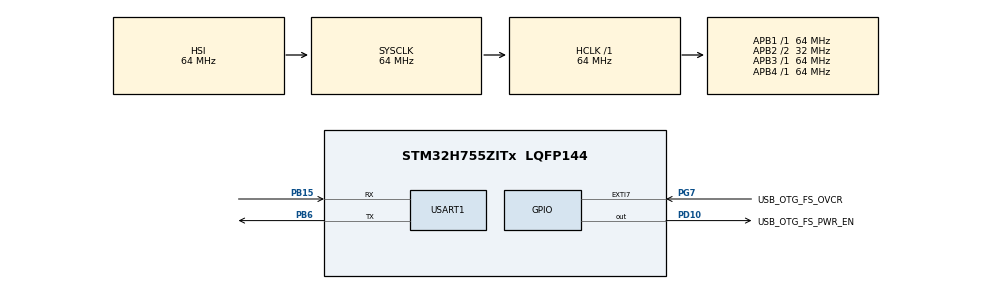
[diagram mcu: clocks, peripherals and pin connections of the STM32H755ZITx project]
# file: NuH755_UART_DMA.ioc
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CortexM4.IPs=FATFS_M4\:I,FREERTOS_M4\:I,IWDG2\:I,RCC,WWDG2\:I,DMA,BDMA,MDMA,NVIC2\:I,ETH,DEBUG,PDM2PCM_M4\:I,PWR,RESMGR_UTILITY,SYS_M4\:I,USB_DEVICE_M4\:I,USB_HOST_M4\:I,CORTEX_M4\:I,GPIO,OPENAMP_M4\:I,VREFBUF,NUCLEO-H755ZI-Q
CortexM7.IPs=FATFS_M7\:I,FREERTOS_M7\:I,IWDG1\:I,RCC\:I,WWDG1\:I,DMA\:I,BDMA\:I,MDMA\:I,NVIC1\:I,ETH\:I,USB_OTG_FS\:I,SYS\:I,CORTEX_M7\:I,DEBUG\:I,PDM2PCM_M7\:I,PWR\:I,RESMGR_UTILITY\:I,USB_DEVICE_M7\:I,USB_HOST_M7\:I,GPIO\:I,OPENAMP_M7\:I,VREFBUF\:I,NUCLEO-H755ZI-Q\:I,USART3\:I,USART1\:I
CortexM7.Pins=PD10,PG7
Dma.Request0=USART1_RX
Dma.Request1=USART1_TX
Dma.USART1_RX.0.Direction=DMA_PERIPH_TO_MEMORY
Dma.USART1_RX.0.EventEnable=DISABLE
Dma.USART1_RX.0.FIFOMode=DMA_FIFOMODE_DISABLE
Dma.USART1_RX.0.Instance=DMA1_Stream0
Dma.USART1_RX.0.MemDataAlignment=DMA_MDATAALIGN_BYTE
Dma.USART1_RX.0.MemInc=DMA_MINC_ENABLE
Dma.USART1_RX.0.Mode=DMA_CIRCULAR
Dma.USART1_RX.0.PeriphDataAlignment=DMA_PDATAALIGN_BYTE
Dma.USART1_RX.0.PeriphInc=DMA_PINC_DISABLE
Dma.USART1_RX.0.Polarity=HAL_DMAMUX_REQ_GEN_RISING
Dma.USART1_RX.0.Priority=DMA_PRIORITY_LOW
Dma.USART1_RX.0.RequestNumber=1
Dma.USART1_RX.0.SignalID=NONE
Dma.USART1_RX.0.SyncEnable=DISABLE
Dma.USART1_RX.0.SyncPolarity=HAL_DMAMUX_SYNC_NO_EVENT
Dma.USART1_RX.0.SyncRequestNumber=1
Dma.USART1_RX.0.SyncSignalID=NONE
Dma.USART1_TX.1.Direction=DMA_MEMORY_TO_PERIPH
Dma.USART1_TX.1.EventEnable=DISABLE
Dma.USART1_TX.1.FIFOMode=DMA_FIFOMODE_DISABLE
Dma.USART1_TX.1.Instance=DMA1_Stream1
Dma.USART1_TX.1.MemDataAlignment=DMA_MDATAALIGN_BYTE
Dma.USART1_TX.1.MemInc=DMA_MINC_ENABLE
Dma.USART1_TX.1.Mode=DMA_NORMAL
Dma.USART1_TX.1.PeriphDataAlignment=DMA_PDATAALIGN_BYTE
Dma.USART1_TX.1.PeriphInc=DMA_PINC_DISABLE
Dma.USART1_TX.1.Polarity=HAL_DMAMUX_REQ_GEN_RISING
Dma.USART1_TX.1.Priority=DMA_PRIORITY_LOW
Dma.USART1_TX.1.RequestNumber=1
Dma.USART1_TX.1.SignalID=NONE
Dma.USART1_TX.1.SyncEnable=DISABLE
Dma.USART1_TX.1.SyncPolarity=HAL_DMAMUX_SYNC_NO_EVENT
Dma.USART1_TX.1.SyncRequestNumber=1
Dma.USART1_TX.1.SyncSignalID=NONE
Mcu.Family=STM32H7
Mcu.Name=STM32H755ZITx
Mcu.Package=LQFP144
NUCLEO-H755ZI-Q.BUTTON=1
NUCLEO-H755ZI-Q.Bsp_Common_DEMO=true
NUCLEO-H755ZI-Q.LD1=true
NUCLEO-H755ZI-Q.LD2=true
NUCLEO-H755ZI-Q.LD3=true
NUCLEO-H755ZI-Q.VCP=true
NVIC1.DMA1_Stream0_IRQn=true\:0\:0\:false\:false\:true\:false\:true\:true
NVIC1.DMA1_Stream1_IRQn=true\:0\:0\:false\:false\:true\:false\:true\:true
NVIC1.EXTI15_10_IRQn=true\:0\:0\:false\:false\:true\:false\:true\:true
NVIC1.PriorityGroup=NVIC_PRIORITYGROUP_4
NVIC1.USART1_IRQn=true\:0\:0\:false\:false\:true\:true\:true\:true
NVIC2.PriorityGroup=NVIC_PRIORITYGROUP_4
PA1.PinAttribute=CortexM7
PA1.Signal=ETH_REF_CLK
PA11.PinAttribute=CortexM7
PA11.Signal=USB_OTG_FS_DM
PA12.PinAttribute=CortexM7
PA12.Signal=USB_OTG_FS_DP
PA2.PinAttribute=CortexM7
PA2.Signal=ETH_MDIO
PA7.PinAttribute=CortexM7
PA7.Signal=ETH_CRS_DV
PA8.PinAttribute=CortexM7
PA8.Signal=USB_OTG_FS_SOF
PA9.PinAttribute=CortexM7
PA9.Signal=USB_OTG_FS_VBUS
PB13.PinAttribute=CortexM7
PB13.Signal=ETH_TXD1
PB15.Mode=Asynchronous
PB15.PinAttribute=CortexM7
PB15.Signal=USART1_RX
PB6.Mode=Asynchronous
PB6.PinAttribute=CortexM7
PB6.Signal=USART1_TX
PC1.PinAttribute=CortexM7
PC1.Signal=ETH_MDC
PC14-OSC32_IN\ (OSC32_IN).PinAttribute=Free
PC14-OSC32_IN\ (OSC32_IN).Signal=RCC_OSC32_IN
PC15-OSC32_OUT\ (OSC32_OUT).PinAttribute=Free
PC15-OSC32_OUT\ (OSC32_OUT).Signal=RCC_OSC32_OUT
PC4.PinAttribute=CortexM7
PC4.Signal=ETH_RXD0
PC5.PinAttribute=CortexM7
PC5.Signal=ETH_RXD1
PD10.GPIO_Label=USB_OTG_FS_PWR_EN
PD10.PinAttribute=CortexM7
PD10.Signal=GPIO_Output
PD8.Signal=USART3_TX
PD9.Signal=USART3_RX
PG11.PinAttribute=CortexM7
PG11.Signal=ETH_TX_EN
PG13.PinAttribute=CortexM7
PG13.Signal=ETH_TXD0
PG7.GPIO_Label=USB_OTG_FS_OVCR
PG7.PinAttribute=CortexM7
PG7.Signal=GPXTI7
PH0-OSC_IN\ (PH0).PinAttribute=Free
PH0-OSC_IN\ (PH0).Signal=RCC_OSC_IN
PH1-OSC_OUT\ (PH1).PinAttribute=Free
PH1-OSC_OUT\ (PH1).Signal=RCC_OSC_OUT
ProjectManager.HeapSize=M4-0x200,M7-0x200
ProjectManager.StackSize=M4-0x400,M7-0x400
ProjectManager.TargetToolchain=STM32CubeIDE
RCC.ADCFreq_Value=129000000
RCC.APB1Freq_Value=64000000
RCC.APB2Freq_Value=32000000
RCC.APB3Freq_Value=64000000
RCC.APB4Freq_Value=64000000
RCC.CortexFreq_Value=64000000
RCC.D2PPRE2=RCC_APB2_DIV2
RCC.DIVM1=5
RCC.DIVN1=48
RCC.DIVQ1=5
RCC.HCLKFreq_Value=64000000
RCC.SYSCLKFreq_VALUE=64000000
RCC.SupplySource=PWR_DIRECT_SMPS_SUPPLY
RCC.USBFreq_Value=122880000
USART1.VirtualMode-Asynchronous=VM_ASYNC
VP_NUCLEO-H755ZI-Q_VS_BSP_COMMON.Mode=COMMON
VP_SYS_M4_VS_Systick.Mode=SysTick
board=NUCLEO-H755ZI-Q

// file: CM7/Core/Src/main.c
/* USER CODE BEGIN Header */
/**
  ******************************************************************************
  * @file           : main.c
  * @brief          : Main program body
  ******************************************************************************
  * @attention
  *
  * Copyright (c) 2025 STMicroelectronics.
  * All rights reserved.
  *
  * This software is licensed under terms that can be found in the LICENSE file
  * in the root directory of this software component.
  * If no LICENSE file comes with this software, it is provided AS-IS.
  *
  ******************************************************************************
  */
/* USER CODE END Header */
#include "main.h"

/* USER CODE BEGIN Includes */
#include <string.h>

/* USER CODE END Includes */

/* USER CODE BEGIN PD */

/* DUAL_CORE_BOOT_SYNC_SEQUENCE: Define for dual core boot synchronization    */
/*                             demonstration code based on hardware semaphore */
/* This define is present in both CM7/CM4 projects                            */
/* To comment when developping/debugging on a single core                     */
//#define DUAL_CORE_BOOT_SYNC_SEQUENCE

#if defined(DUAL_CORE_BOOT_SYNC_SEQUENCE)
#ifndef HSEM_ID_0
#define HSEM_ID_0 (0U) /* HW semaphore 0*/
#endif
#endif /* DUAL_CORE_BOOT_SYNC_SEQUENCE */

/* USER CODE END PD */

COM_InitTypeDef BspCOMInit;
__IO uint32_t BspButtonState = BUTTON_RELEASED;

UART_HandleTypeDef huart1;
DMA_HandleTypeDef hdma_usart1_rx;
DMA_HandleTypeDef hdma_usart1_tx;

/* USER CODE BEGIN PV */
#define RX_BUF_SIZE 256
static uint8_t rx_dma_buf[RX_BUF_SIZE];
static uint16_t rx_last_pos = 0;

#define RX_RINGBUF_SIZE 1024
static uint8_t rx_ring_buf[RX_RINGBUF_SIZE];
static uint16_t rx_rb_head = 0;
static uint16_t rx_rb_tail = 0;
static uint16_t next_head = 0;

#define RX_RINGBUF_CHUNK_SIZE 64
static uint8_t rx_ring_buf_chunk[RX_RINGBUF_CHUNK_SIZE];
static uint16_t available  = 0;
static uint16_t to_read  = 0;

/* USER CODE END PV */

void SystemClock_Config(void);
static void MX_GPIO_Init(void);
static void MX_DMA_Init(void);
static void MX_USART1_UART_Init(void);
/* USER CODE BEGIN PFP */
static void RingBuf_WR(uint8_t data);
static void RingBuf_RD(void);
/* USER CODE END PFP */

/* USER CODE BEGIN 0 */
static void uart1_tx_dma(const uint8_t *data, uint16_t len)
{
  /* Demo-grade: wait until previous TX DMA finished */
  while (huart1.gState != HAL_UART_STATE_READY) { }
  HAL_UART_Transmit_DMA(&huart1, (uint8_t*)data, len);
}

static void uart1_tx_str(const char *s)
{
  uart1_tx_dma((const uint8_t*)s, (uint16_t)strlen(s));
}

static void RingBuf_WR(uint8_t data)
{
	static int of_cnt = 0;
	next_head = (rx_rb_head + 1) % RX_RINGBUF_SIZE;

	if (next_head == rx_rb_tail)
	{
		printf("%04d Ring Buffer Overflow!!!!!!!!!!!\r\n", of_cnt++);
		return;
	}

	rx_ring_buf[rx_rb_head] = data;
	rx_rb_head = next_head;
}

static void RingBuf_RD(void)
{
	available = (rx_rb_head >= rx_rb_tail) ? (rx_rb_head - rx_rb_tail) : (RX_RINGBUF_SIZE - rx_rb_tail + rx_rb_head);

	if (available == 0)
		return;

	to_read = (available >= RX_RINGBUF_CHUNK_SIZE) ? RX_RINGBUF_CHUNK_SIZE : available;

	for (uint16_t i = 0; i < to_read; i++)
	{
		rx_ring_buf_chunk[i] = rx_ring_buf[(rx_rb_tail + i) % RX_RINGBUF_SIZE];
	}

	rx_rb_tail = (rx_rb_tail + to_read) % RX_RINGBUF_SIZE;

	HAL_UART_Transmit(&hcom_uart[COM1], rx_ring_buf_chunk, to_read, 1000);  // timeout 1s

}

/* USER CODE END 0 */

int main(void)
{

/* USER CODE BEGIN Boot_Mode_Sequence_0 */
#if defined(DUAL_CORE_BOOT_SYNC_SEQUENCE)
  int32_t timeout;
#endif /* DUAL_CORE_BOOT_SYNC_SEQUENCE */
/* USER CODE END Boot_Mode_Sequence_0 */

/* USER CODE BEGIN Boot_Mode_Sequence_1 */
#if defined(DUAL_CORE_BOOT_SYNC_SEQUENCE)
  /* Wait until CPU2 boots and enters in stop mode or timeout*/
  timeout = 0xFFFF;
  while((__HAL_RCC_GET_FLAG(RCC_FLAG_D2CKRDY) != RESET) && (timeout-- > 0));
  if ( timeout < 0 )
  {
  Error_Handler();
  }
#endif /* DUAL_CORE_BOOT_SYNC_SEQUENCE */
/* USER CODE END Boot_Mode_Sequence_1 */
  /* MCU Configuration--------------------------------------------------------*/

  /* Reset of all peripherals, Initializes the Flash interface and the Systick. */
  HAL_Init();

  /* Configure the system clock */
  SystemClock_Config();
/* USER CODE BEGIN Boot_Mode_Sequence_2 */
#if defined(DUAL_CORE_BOOT_SYNC_SEQUENCE)
/* When system initialization is finished, Cortex-M7 will release Cortex-M4 by means of
HSEM notification */
/*HW semaphore Clock enable*/
__HAL_RCC_HSEM_CLK_ENABLE();
/*Take HSEM */
HAL_HSEM_FastTake(HSEM_ID_0);
/*Release HSEM in order to notify the CPU2(CM4)*/
HAL_HSEM_Release(HSEM_ID_0,0);
/* wait until CPU2 wakes up from stop mode */
timeout = 0xFFFF;
while((__HAL_RCC_GET_FLAG(RCC_FLAG_D2CKRDY) == RESET) && (timeout-- > 0));
if ( timeout < 0 )
{
Error_Handler();
}
#endif /* DUAL_CORE_BOOT_SYNC_SEQUENCE */
/* USER CODE END Boot_Mode_Sequence_2 */

  /* Initialize all configured peripherals */
  MX_GPIO_Init();
  MX_DMA_Init();
  MX_USART1_UART_Init();
  /* USER CODE BEGIN 2 */
  HAL_UART_Receive_DMA(&huart1, rx_dma_buf, RX_BUF_SIZE);
  uart1_tx_str("\r\nUART1 RX DMA (circular) ready. Type something...\r\n");

  /* USER CODE END 2 */

  /* Initialize leds */
  BSP_LED_Init(LED_GREEN);
  BSP_LED_Init(LED_YELLOW);
  BSP_LED_Init(LED_RED);

  /* Initialize USER push-button, will be used to trigger an interrupt each time it's pressed.*/
  BSP_PB_Init(BUTTON_USER, BUTTON_MODE_EXTI);

  /* Initialize COM1 port (115200, 8 bits (7-bit data + 1 stop bit), no parity */
  BspCOMInit.BaudRate   = 115200;
  BspCOMInit.WordLength = COM_WORDLENGTH_8B;
  BspCOMInit.StopBits   = COM_STOPBITS_1;
  BspCOMInit.Parity     = COM_PARITY_NONE;
  BspCOMInit.HwFlowCtl  = COM_HWCONTROL_NONE;
  if (BSP_COM_Init(COM1, &BspCOMInit) != BSP_ERROR_NONE)
  {
    Error_Handler();
  }

  /* USER CODE BEGIN BSP */
  /* -- Sample board code to send message over COM1 port ---- */
  printf("Welcome to STM32 world !\n\r");
  /* -- Sample board code to switch on leds ---- */
  BSP_LED_On(LED_GREEN);
  BSP_LED_On(LED_YELLOW);
  BSP_LED_On(LED_RED);
  /* USER CODE END BSP */

  /* Infinite loop */
  /* USER CODE BEGIN WHILE */
  while (1)
  {

    /* -- Sample board code for User push-button in interrupt mode ---- */
    if (BspButtonState == BUTTON_PRESSED)
    {
      /* Update button state */
      BspButtonState = BUTTON_RELEASED;
      /* -- Sample board code to toggle leds ---- */
      BSP_LED_Toggle(LED_GREEN);
      BSP_LED_Toggle(LED_YELLOW);
      BSP_LED_Toggle(LED_RED);
      /* ..... Perform your action ..... */
    }

    /* Move DMA to Ring Buffer */
    uint16_t pos = (uint16_t)(RX_BUF_SIZE - __HAL_DMA_GET_COUNTER(huart1.hdmarx));

    if (pos != rx_last_pos)
    {
        if (pos > rx_last_pos)
        {
            for (uint16_t i = rx_last_pos; i < pos; i++)
            {
            	RingBuf_WR(rx_dma_buf[i]);
            }
        }
        else
        {
            for (uint16_t i = rx_last_pos; i < RX_BUF_SIZE; i++)
            	RingBuf_WR(rx_dma_buf[i]);
            for (uint16_t i = 0; i < pos; i++)
            	RingBuf_WR(rx_dma_buf[i]);
        }
        rx_last_pos = pos;
    }

    RingBuf_RD();

    /* USER CODE END WHILE */

  }
}

void SystemClock_Config(void)
{
  RCC_OscInitTypeDef RCC_OscInitStruct = {0};
  RCC_ClkInitTypeDef RCC_ClkInitStruct = {0};

  /** Supply configuration update enable
  */
  HAL_PWREx_ConfigSupply(PWR_DIRECT_SMPS_SUPPLY);

  /** Configure the main internal regulator output voltage
  */
  __HAL_PWR_VOLTAGESCALING_CONFIG(PWR_REGULATOR_VOLTAGE_SCALE3);

  while(!__HAL_PWR_GET_FLAG(PWR_FLAG_VOSRDY)) {}

  /** Initializes the RCC Oscillators according to the specified parameters
  * in the RCC_OscInitTypeDef structure.
  */
  RCC_OscInitStruct.OscillatorType = RCC_OSCILLATORTYPE_HSI;
  RCC_OscInitStruct.HSIState = RCC_HSI_DIV1;
  RCC_OscInitStruct.HSICalibrationValue = RCC_HSICALIBRATION_DEFAULT;
  RCC_OscInitStruct.PLL.PLLState = RCC_PLL_NONE;
  if (HAL_RCC_OscConfig(&RCC_OscInitStruct) != HAL_OK)
  {
    Error_Handler();
  }

  /** Initializes the CPU, AHB and APB buses clocks
  */
  RCC_ClkInitStruct.ClockType = RCC_CLOCKTYPE_HCLK|RCC_CLOCKTYPE_SYSCLK
                              |RCC_CLOCKTYPE_PCLK1|RCC_CLOCKTYPE_PCLK2
                              |RCC_CLOCKTYPE_D3PCLK1|RCC_CLOCKTYPE_D1PCLK1;
  RCC_ClkInitStruct.SYSCLKSource = RCC_SYSCLKSOURCE_HSI;
  RCC_ClkInitStruct.SYSCLKDivider = RCC_SYSCLK_DIV1;
  RCC_ClkInitStruct.AHBCLKDivider = RCC_HCLK_DIV1;
  RCC_ClkInitStruct.APB3CLKDivider = RCC_APB3_DIV1;
  RCC_ClkInitStruct.APB1CLKDivider = RCC_APB1_DIV1;
  RCC_ClkInitStruct.APB2CLKDivider = RCC_APB2_DIV2;
  RCC_ClkInitStruct.APB4CLKDivider = RCC_APB4_DIV1;

  if (HAL_RCC_ClockConfig(&RCC_ClkInitStruct, FLASH_LATENCY_1) != HAL_OK)
  {
    Error_Handler();
  }
}

static void MX_USART1_UART_Init(void)
{

  huart1.Instance = USART1;
  huart1.Init.BaudRate = 115200;
  huart1.Init.WordLength = UART_WORDLENGTH_8B;
  huart1.Init.StopBits = UART_STOPBITS_1;
  huart1.Init.Parity = UART_PARITY_NONE;
  huart1.Init.Mode = UART_MODE_TX_RX;
  huart1.Init.HwFlowCtl = UART_HWCONTROL_NONE;
  huart1.Init.OverSampling = UART_OVERSAMPLING_16;
  huart1.Init.OneBitSampling = UART_ONE_BIT_SAMPLE_DISABLE;
  huart1.Init.ClockPrescaler = UART_PRESCALER_DIV1;
  huart1.AdvancedInit.AdvFeatureInit = UART_ADVFEATURE_NO_INIT;
  if (HAL_UART_Init(&huart1) != HAL_OK)
  {
    Error_Handler();
  }
  if (HAL_UARTEx_SetTxFifoThreshold(&huart1, UART_TXFIFO_THRESHOLD_1_8) != HAL_OK)
  {
    Error_Handler();
  }
  if (HAL_UARTEx_SetRxFifoThreshold(&huart1, UART_RXFIFO_THRESHOLD_1_8) != HAL_OK)
  {
    Error_Handler();
  }
  if (HAL_UARTEx_DisableFifoMode(&huart1) != HAL_OK)
  {
    Error_Handler();
  }

}

static void MX_DMA_Init(void)
{

  /* DMA controller clock enable */
  __HAL_RCC_DMA1_CLK_ENABLE();

  /* DMA interrupt init */
  /* DMA1_Stream0_IRQn interrupt configuration */
  HAL_NVIC_SetPriority(DMA1_Stream0_IRQn, 0, 0);
  HAL_NVIC_EnableIRQ(DMA1_Stream0_IRQn);
  /* DMA1_Stream1_IRQn interrupt configuration */
  HAL_NVIC_SetPriority(DMA1_Stream1_IRQn, 0, 0);
  HAL_NVIC_EnableIRQ(DMA1_Stream1_IRQn);

}

static void MX_GPIO_Init(void)
{
  GPIO_InitTypeDef GPIO_InitStruct = {0};

  /* GPIO Ports Clock Enable */
  __HAL_RCC_GPIOC_CLK_ENABLE();
  __HAL_RCC_GPIOA_CLK_ENABLE();
  __HAL_RCC_GPIOB_CLK_ENABLE();
  __HAL_RCC_GPIOD_CLK_ENABLE();
  __HAL_RCC_GPIOG_CLK_ENABLE();

  /*Configure GPIO pin Output Level */
  HAL_GPIO_WritePin(USB_OTG_FS_PWR_EN_GPIO_Port, USB_OTG_FS_PWR_EN_Pin, GPIO_PIN_RESET);

  /*Configure GPIO pins : PC1 PC4 PC5 */
  GPIO_InitStruct.Pin = GPIO_PIN_1|GPIO_PIN_4|GPIO_PIN_5;
  GPIO_InitStruct.Mode = GPIO_MODE_AF_PP;
  GPIO_InitStruct.Pull = GPIO_NOPULL;
  GPIO_InitStruct.Speed = GPIO_SPEED_FREQ_HIGH;
  GPIO_InitStruct.Alternate = GPIO_AF11_ETH;
  HAL_GPIO_Init(GPIOC, &GPIO_InitStruct);

  /*Configure GPIO pins : PA1 PA2 PA7 */
  GPIO_InitStruct.Pin = GPIO_PIN_1|GPIO_PIN_2|GPIO_PIN_7;
  GPIO_InitStruct.Mode = GPIO_MODE_AF_PP;
  GPIO_InitStruct.Pull = GPIO_NOPULL;
  GPIO_InitStruct.Speed = GPIO_SPEED_FREQ_HIGH;
  GPIO_InitStruct.Alternate = GPIO_AF11_ETH;
  HAL_GPIO_Init(GPIOA, &GPIO_InitStruct);

  /*Configure GPIO pin : PB13 */
  GPIO_InitStruct.Pin = GPIO_PIN_13;
  GPIO_InitStruct.Mode = GPIO_MODE_AF_PP;
  GPIO_InitStruct.Pull = GPIO_NOPULL;
  GPIO_InitStruct.Speed = GPIO_SPEED_FREQ_HIGH;
  GPIO_InitStruct.Alternate = GPIO_AF11_ETH;
  HAL_GPIO_Init(GPIOB, &GPIO_InitStruct);

  /*Configure GPIO pin : USB_OTG_FS_PWR_EN_Pin */
  GPIO_InitStruct.Pin = USB_OTG_FS_PWR_EN_Pin;
  GPIO_InitStruct.Mode = GPIO_MODE_OUTPUT_PP;
  GPIO_InitStruct.Pull = GPIO_NOPULL;
  GPIO_InitStruct.Speed = GPIO_SPEED_FREQ_LOW;
  HAL_GPIO_Init(USB_OTG_FS_PWR_EN_GPIO_Port, &GPIO_InitStruct);

  /*Configure GPIO pin : USB_OTG_FS_OVCR_Pin */
  GPIO_InitStruct.Pin = USB_OTG_FS_OVCR_Pin;
  GPIO_InitStruct.Mode = GPIO_MODE_IT_RISING;
  GPIO_InitStruct.Pull = GPIO_NOPULL;
  HAL_GPIO_Init(USB_OTG_FS_OVCR_GPIO_Port, &GPIO_InitStruct);

  /*Configure GPIO pins : PA8 PA11 PA12 */
  GPIO_InitStruct.Pin = GPIO_PIN_8|GPIO_PIN_11|GPIO_PIN_12;
  GPIO_InitStruct.Mode = GPIO_MODE_AF_PP;
  GPIO_InitStruct.Pull = GPIO_NOPULL;
  GPIO_InitStruct.Speed = GPIO_SPEED_FREQ_LOW;
  GPIO_InitStruct.Alternate = GPIO_AF10_OTG1_FS;
  HAL_GPIO_Init(GPIOA, &GPIO_InitStruct);

  /*Configure GPIO pins : PG11 PG13 */
  GPIO_InitStruct.Pin = GPIO_PIN_11|GPIO_PIN_13;
  GPIO_InitStruct.Mode = GPIO_MODE_AF_PP;
  GPIO_InitStruct.Pull = GPIO_NOPULL;
  GPIO_InitStruct.Speed = GPIO_SPEED_FREQ_HIGH;
  GPIO_InitStruct.Alternate = GPIO_AF11_ETH;
  HAL_GPIO_Init(GPIOG, &GPIO_InitStruct);

}

/**
  * @brief  BSP Push Button callback
  * @param  Button Specifies the pressed button
  * @retval None
  */
void BSP_PB_Callback(Button_TypeDef Button)
{
  if (Button == BUTTON_USER)
  {
    BspButtonState = BUTTON_PRESSED;
  }
}

void Error_Handler(void)
{
  __disable_irq();
  while (1)
  {
  }
}
